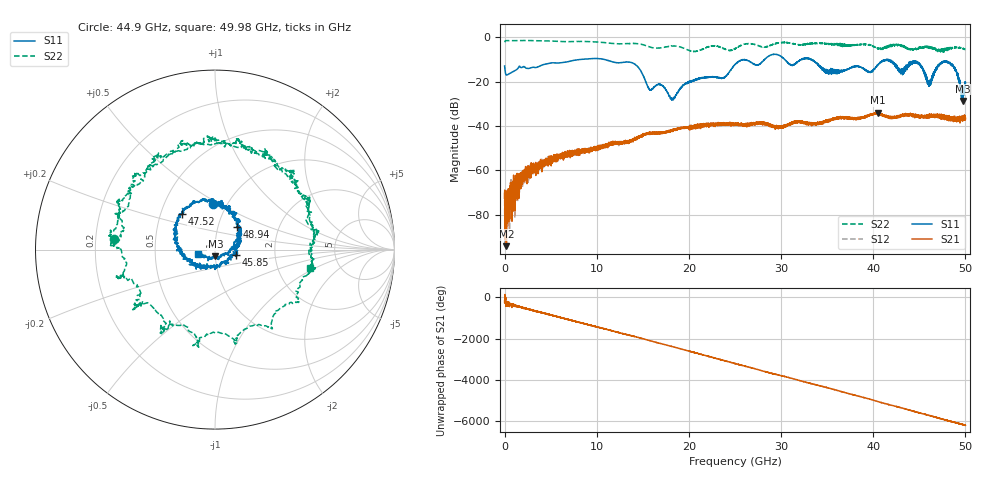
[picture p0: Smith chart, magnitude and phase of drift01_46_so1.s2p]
!Created with skrf (http://scikit-rf.org).
# Hz S RI R 50.0
!freq ReS11 ImS11 ReS21 ImS21 ReS12 ImS12 ReS22 ImS22
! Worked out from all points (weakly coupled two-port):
!   10001 points, 300 kHz to 50 GHz, reference 50 ohm
!   highest |S21| = -33.94 dB at 40.55 GHz (marker M1); lowest = -94.3 dB at 195.3 MHz (marker M2)
!   lowest |S11| = -28.7 dB at 49.7 GHz (marker M3), VSWR 1.08, Z = 50.1 - j3.67 ohm
!   |S11| at or under -10 dB: start of sweep to 8.068 GHz; 10.89 GHz to 25.83 GHz (14.94 GHz wide, 81.4 % of centre); 41.62 GHz to end of sweep (the widest 3 of 19)
!   |S22| runs from -6.9 to -1.4 dB; largest |S21 - S12| = 0.0045
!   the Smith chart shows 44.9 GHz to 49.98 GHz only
!   S11 on the Smith chart (normalised r, x): 44.9 GHz: 0.86, +0.47; 45.85 GHz: 1.26, -0.08; 47.52 GHz: 0.64, +0.27; 48.94 GHz: 1.24, +0.32; 49.98 GHz: 0.83, -0.04
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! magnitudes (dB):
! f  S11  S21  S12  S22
! 300 kHz  -12.9  -70.7  -69.9  -2.1
! 195.3 MHz  -16.9  -94.3  -71.4  -1.4
! 2.88 GHz  -13.7  -61.1  -59.2  -1.4
! 8.335 GHz  -9.9  -51.4  -50.8  -1.8
! 13.79 GHz  -11.4  -46.4  -47.1  -2.8
! 15.74 GHz  -23.5  -43.0  -43.1  -4.3
! 16.67 GHz  -21.2  -43.2  -43.1  -4.8
! 18.24 GHz  -27.5  -42.5  -41.6  -3.9
! 19.7 GHz  -20.5  -40.6  -41.0  -5.4
! 25 GHz  -12.2  -38.9  -39.1  -5.1
! 33.34 GHz  -10.1  -39.2  -38.9  -2.7
! 35.23 GHz  -14.9  -37.2  -37.4  -2.9
! 40.55 GHz  -12.2  -33.9  -34.2  -5.1
! 41.67 GHz  -10.5  -35.7  -36.1  -4.4
! 43.07 GHz  -15.0  -35.1  -35.5  -3.5
! 44.9 GHz  -11.9  -35.6  -35.7  -4.9
! 45.85 GHz  -18.5  -35.7  -35.8  -4.6
! 47.52 GHz  -11.4  -35.2  -35.6  -6.4
! 48.94 GHz  -15.1  -36.8  -37.1  -4.6
! 49.7 GHz  -28.7  -36.9  -36.9  -5.0
! 49.98 GHz  -20.4  -36.7  -36.3  -5.4
! 50 GHz  -20.7  -36.5  -36.4  -5.4
